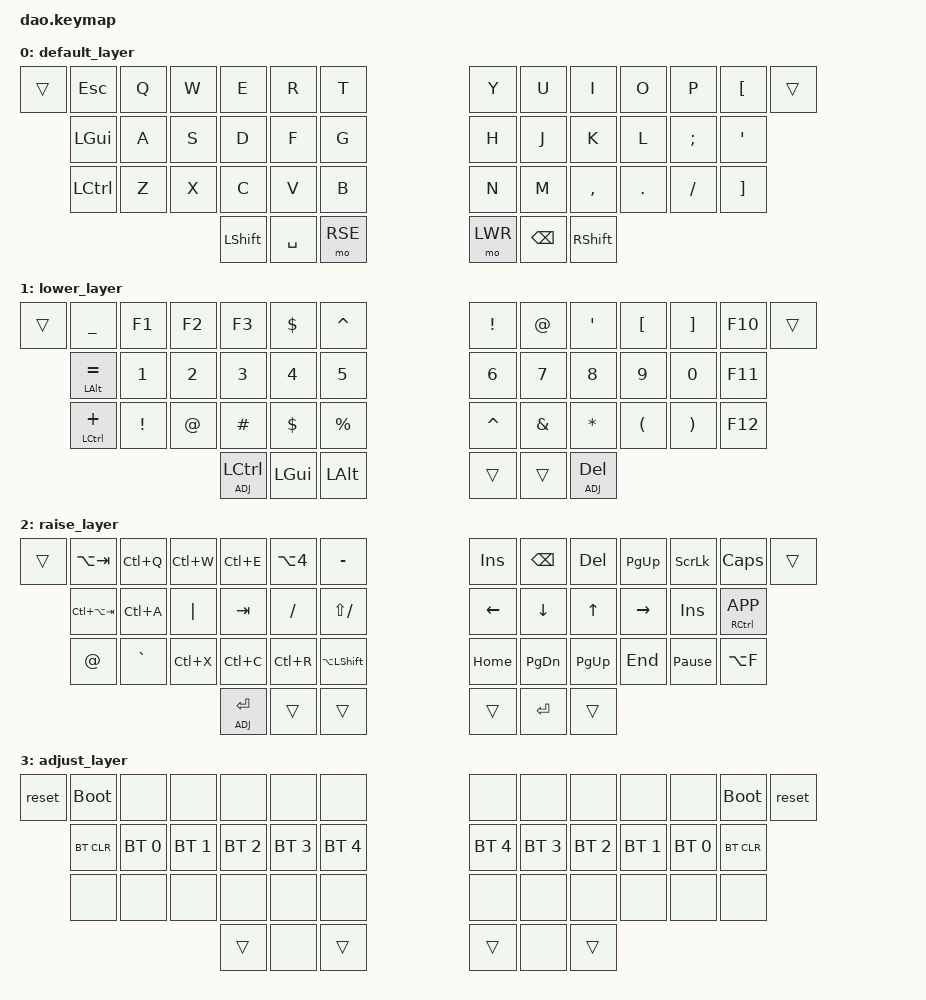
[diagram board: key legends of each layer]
/*
 * Copyright (c) 2021 Rafael Yumagulov
 *
 * SPDX-License-Identifier: MITh
 */

#include <behaviors.dtsi>
#include <dt-bindings/zmk/keys.h>
#include <dt-bindings/zmk/bt.h>

#define DEF 0
#define LWR 1
#define RSE 2
#define ADJ 3

&lt { quick_tap_ms = <200>; };
&mt { quick_tap_ms = <200>; };

/ {
        keymap {
                compatible = "zmk,keymap";

                default_layer {
// -----------------------------------------------------------------------------------------------------------------------------------------------------------
// |  -   |  ESC    |   Q   |   W   |   E   |   R   |   T   |                  |   Y   |   U   |     I     |    O    |    P    |   [    |  -  |
//        |  TAB    |   A   |   S   |   D   |   F   |   G   |                  |   H   |   J   |     K     |    L    |    ;    |    '   |
//        |  LCTL   |   Z   |   X   |   C   |   V   |   B   |                  |   N   |   M   |     ,     |    .    |    /    |    ]   |
//                                       | SHFT |  SPACE | RSE |            | LWR |SFT/BSPC|RAISE|
                        bindings = <            
    &trans &kp ESC    &kp Q   &kp W   &kp E   &kp R   &kp T                   &kp Y      &kp U    &kp I       &kp O    &kp P     &kp LBKT &trans
           &kp LGUI   &kp A   &kp S   &kp D   &kp F   &kp G                   &kp H      &kp J    &kp K       &kp L    &kp SEMI  &kp SQT
           &kp LCTRL  &kp Z   &kp X   &kp C   &kp V   &kp B                   &kp N      &kp M    &kp COMMA   &kp DOT  &kp FSLH  &kp RBKT           
                                     &kp LSHFT &kp SPACE &mo RSE           &mo LWR &kp BSPC &kp RSHFT
                        >;
                };
                lower_layer {
// -----------------------------------------------------------------------------------------------------------------------------------------------------------
// |  -   |   _     |  F1   |   F2  |   F3  |   ;   |   :   |                  |   !   |   "   |    Э     |   Х   |   Ъ   | F11 |  -  |
//        |   =     |  1    |   2   |   3   |   4   |   5   |                  |   6   |   7   |    8     |   9   |   0   | F12 |
//        |   +     |  !    |   @   |   #   |   $   |   %   |                  |   ^   |   &   |    *     |   (   |   )   |  -  |
//                                  |  GUI  |       |  GUI  |                  |  ENT  |       |  ALT  |
                        bindings = <
   &trans &kp UNDER      &kp F1   &kp F2 &kp F3   &kp DLLR &kp CARET              &kp EXCL  &kp AT   &kp SQT  &kp LBKT &kp RBKT &kp F10 &trans   
          &mt LALT EQUAL &kp N1   &kp N2 &kp N3   &kp N4   &kp N5              &kp N6    &kp N7   &kp N8   &kp N9   &kp N0   &kp F11
          &mt LCTRL PLUS &kp EXCL &kp AT &kp HASH &kp DLLR &kp PRCNT           &kp CARET &kp AMPS &kp STAR &kp LPAR &kp RPAR &kp F12
                                        &lt ADJ LCTRL &kp LGUI &kp LALT        &trans &trans &lt ADJ DEL
                        >;
                };

                raise_layer {
// -----------------------------------------------------------------------------------------------------------------------------------------------------------
// |     |    A+T        |   C+q    |   C+w   |   C+e   |   A+4   |    -    |                  | INS| BSPC| DEL| PGUP| SCLK| CLCK|     |
//       |    C+A+T      |   C+a    |    |    |   TAB   |     .   |    ,    |                  | LEFT | DOWN|  UP | RGHT| INS | APP |
//       |      @        |    ~     |   C+x   |   C+c   |   C+v   |   A+S   |                  | HOME| PGDN | PGUP| END| PAUS|     |
//                                            |   ADJ   |         |         |                  | ADJ |     |     |
                        bindings = <
   &trans &kp LA(TAB)     &kp LC(Q)  &kp LC(W) &kp LC(E) &kp LA(N4) &kp MINUS                &kp INS      &kp BSPC &kp DEL   &kp PG_UP &kp SLCK &kp CAPS &trans
          &kp LC(LA(TAB)) &kp LC(A)  &kp PIPE &kp TAB   &kp FSLH    &kp LS(FSLH)               &kp LEFT     &kp DOWN &kp UP    &kp RIGHT &kp INS  &mt RCTRL K_APP
          &kp AT          &kp GRAVE  &kp LC(X) &kp LC(C) &kp LC(R)  &kp LA(LSHFT)               &kp HOME     &kp PG_DN   &kp PG_UP &kp END &kp PAUSE_BREAK &kp LA(F)
                                               &lt ADJ RET &trans   &trans                      &trans  &kp ENTER   &trans
                        >;
                };
                adjust_layer {
// -----------------------------------------------------------------------------------------
// | RST | BLDR |     |     |     |     |     |   |     |     |     |     |     | BLDR | RST |
//       | BTCLR| BT0 | BT1 | BT2 | BT3 | BT4 |   | BT4 | BT3 | BT2 | BT1 | BT0 | BTCLR|
//       |      |     |     |     |     |     |   |     |     |     |     |     |      |
//                          |     |     |     |   |     |     |     |
                        bindings = <
   &reset &bootloader  &none        &none        &none        &none        &none              &none        &none        &none        &none        &none         &bootloader &reset
          &bt BT_CLR   &bt BT_SEL 0 &bt BT_SEL 1 &bt BT_SEL 2 &bt BT_SEL 3 &bt BT_SEL 4       &bt BT_SEL 4 &bt BT_SEL 3 &bt BT_SEL 2 &bt BT_SEL 1 &bt BT_SEL 0  &bt BT_CLR
          &none        &none        &none        &none        &none        &none              &none        &none        &none        &none        &none         &none
                                                                    &trans &none &trans   &trans &none &trans
                        >;
                };
        };
};
